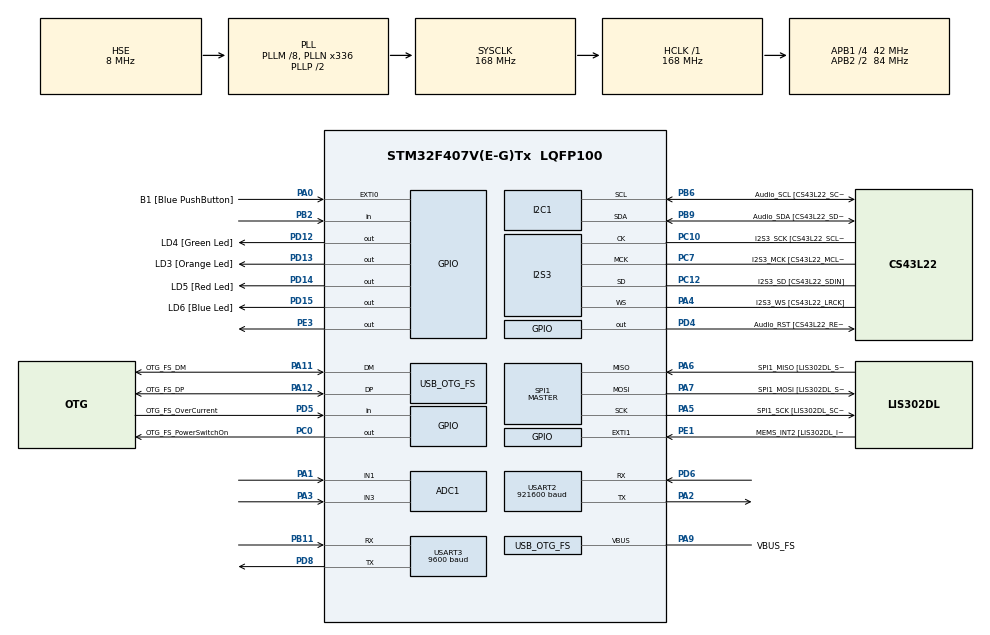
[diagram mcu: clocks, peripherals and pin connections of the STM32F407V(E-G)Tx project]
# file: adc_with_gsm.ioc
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ADC1.Channel-0\#ChannelRegularConversion=ADC_CHANNEL_1
ADC1.Channel-1\#ChannelRegularConversion=ADC_CHANNEL_3
ADC1.ContinuousConvMode=ENABLE
ADC1.DMAContinuousRequests=ENABLE
ADC1.EOCSelection=ADC_EOC_SINGLE_CONV
ADC1.InjNumberOfConversion=0
ADC1.NbrOfConversion=2
ADC1.NbrOfConversionFlag=1
ADC1.Rank-0\#ChannelRegularConversion=1
ADC1.Rank-1\#ChannelRegularConversion=2
ADC1.SamplingTime-0\#ChannelRegularConversion=ADC_SAMPLETIME_15CYCLES
ADC1.SamplingTime-1\#ChannelRegularConversion=ADC_SAMPLETIME_15CYCLES
ADC1.ScanConvMode=ENABLE
ADC1.master=1
Dma.ADC1.0.Direction=DMA_PERIPH_TO_MEMORY
Dma.ADC1.0.FIFOMode=DMA_FIFOMODE_DISABLE
Dma.ADC1.0.Instance=DMA2_Stream0
Dma.ADC1.0.MemDataAlignment=DMA_MDATAALIGN_HALFWORD
Dma.ADC1.0.MemInc=DMA_MINC_ENABLE
Dma.ADC1.0.Mode=DMA_CIRCULAR
Dma.ADC1.0.PeriphDataAlignment=DMA_PDATAALIGN_HALFWORD
Dma.ADC1.0.PeriphInc=DMA_PINC_DISABLE
Dma.ADC1.0.Priority=DMA_PRIORITY_MEDIUM
Dma.Request0=ADC1
I2S3.AudioFreq-Half_Duplex_Master=I2S_AUDIOFREQ_96K
I2S3.ErrorAudioFreq=-2.34 %
I2S3.ErrorAudioFreq-Half_Duplex_Master=0.8 %
I2S3.FullDuplexMode=I2S_FULLDUPLEXMODE_DISABLE
I2S3.Instance=SPI$Index
I2S3.RealAudioFreq=93.75 KHz
I2S3.RealAudioFreq-Half_Duplex_Master=96.774 KHz
I2S3.VirtualMode=I2S_MODE_MASTER
Mcu.Family=STM32F4
Mcu.Name=STM32F407V(E-G)Tx
Mcu.Package=LQFP100
NVIC.DMA2_Stream0_IRQn=true\:0\:0\:false\:false\:true\:false\:true\:true
NVIC.OTG_FS_IRQn=true\:0\:0\:false\:false\:true\:true\:true\:true
NVIC.PriorityGroup=NVIC_PRIORITYGROUP_0
NVIC.USART2_IRQn=true\:0\:1\:true\:false\:true\:true\:true\:true
NVIC.USART3_IRQn=true\:0\:2\:false\:false\:true\:true\:true\:true
PA0-WKUP.GPIO_Label=B1 [Blue PushButton]
PA0-WKUP.GPIO_ModeDefaultEXTI=GPIO_MODE_EVT_RISING
PA0-WKUP.GPIO_PuPd=GPIO_NOPULL
PA0-WKUP.Signal=GPXTI0
PA1.Signal=ADCx_IN1
PA10.GPIO_Label=OTG_FS_ID
PA10.GPIO_Mode=GPIO_MODE_AF_PP
PA10.GPIO_PuPd=GPIO_NOPULL
PA10.GPIO_Speed=GPIO_SPEED_FREQ_LOW
PA10.Signal=USB_OTG_FS_ID
PA11.GPIO_Label=OTG_FS_DM
PA11.GPIO_Mode=GPIO_MODE_AF_PP
PA11.GPIO_PuPd=GPIO_NOPULL
PA11.GPIO_Speed=GPIO_SPEED_FREQ_LOW
PA11.Mode=Host_Only
PA11.Signal=USB_OTG_FS_DM
PA12.GPIO_Label=OTG_FS_DP
PA12.GPIO_Mode=GPIO_MODE_AF_PP
PA12.GPIO_PuPd=GPIO_NOPULL
PA12.GPIO_Speed=GPIO_SPEED_FREQ_LOW
PA12.Mode=Host_Only
PA12.Signal=USB_OTG_FS_DP
PA13.GPIO_Label=SWDIO
PA13.Mode=Serial_Wire
PA13.Signal=SYS_JTMS-SWDIO
PA14.GPIO_Label=SWCLK
PA14.Mode=Serial_Wire
PA14.Signal=SYS_JTCK-SWCLK
PA2.Mode=Asynchronous
PA2.Signal=USART2_TX
PA3.Signal=ADCx_IN3
PA4.GPIO_Label=I2S3_WS [CS43L22_LRCK]
PA4.GPIO_Mode=GPIO_MODE_AF_PP
PA4.GPIO_PuPd=GPIO_NOPULL
PA4.GPIO_Speed=GPIO_SPEED_FREQ_LOW
PA4.Mode=Half_Duplex_Master
PA4.Signal=I2S3_WS
PA5.GPIO_Label=SPI1_SCK [LIS302DL_SCL/SPC]
PA5.GPIO_Mode=GPIO_MODE_AF_PP
PA5.GPIO_PuPd=GPIO_NOPULL
PA5.GPIO_Speed=GPIO_SPEED_FREQ_LOW
PA5.Mode=Full_Duplex_Master
PA5.Signal=SPI1_SCK
PA6.GPIO_Label=SPI1_MISO [LIS302DL_SDO]
PA6.GPIO_Mode=GPIO_MODE_AF_PP
PA6.GPIO_PuPd=GPIO_NOPULL
PA6.GPIO_Speed=GPIO_SPEED_FREQ_LOW
PA6.Mode=Full_Duplex_Master
PA6.Signal=SPI1_MISO
PA7.GPIO_Label=SPI1_MOSI [LIS302DL_SDA/SDI/SDO]
PA7.GPIO_Mode=GPIO_MODE_AF_PP
PA7.GPIO_PuPd=GPIO_NOPULL
PA7.GPIO_Speed=GPIO_SPEED_FREQ_LOW
PA7.Mode=Full_Duplex_Master
PA7.Signal=SPI1_MOSI
PA9.GPIO_Label=VBUS_FS
PA9.GPIO_Mode=GPIO_MODE_INPUT
PA9.GPIO_PuPd=GPIO_NOPULL
PA9.Mode=Activate_VBUS
PA9.Signal=USB_OTG_FS_VBUS
PB10.GPIO_Label=CLK_IN [MP45DT02_CLK]
PB10.GPIO_Mode=GPIO_MODE_AF_PP
PB10.GPIO_PuPd=GPIO_NOPULL
PB10.GPIO_Speed=GPIO_SPEED_FREQ_LOW
PB10.Signal=I2S2_CK
PB11.Mode=Asynchronous
PB11.Signal=USART3_RX
PB2.Signal=GPIO_Input
PB3.GPIO_Label=SWO
PB3.Signal=SYS_JTDO-SWO
PB6.GPIO_Label=Audio_SCL [CS43L22_SCL]
PB6.GPIO_Mode=GPIO_MODE_AF_OD
PB6.GPIO_Pu=GPIO_PULLUP
PB6.GPIO_PuPd=GPIO_NOPULL
PB6.GPIO_Speed=GPIO_SPEED_FREQ_LOW
PB6.Mode=I2C
PB6.Signal=I2C1_SCL
PB9.GPIO_Label=Audio_SDA [CS43L22_SDA]
PB9.GPIO_Mode=GPIO_MODE_AF_OD
PB9.GPIO_Pu=GPIO_PULLUP
PB9.GPIO_PuPd=GPIO_NOPULL
PB9.GPIO_Speed=GPIO_SPEED_FREQ_LOW
PB9.Mode=I2C
PB9.Signal=I2C1_SDA
PC0.GPIO_Label=OTG_FS_PowerSwitchOn
PC0.GPIO_PuPd=GPIO_NOPULL
PC0.GPIO_Speed=GPIO_SPEED_FREQ_LOW
PC0.PinState=GPIO_PIN_SET
PC0.Signal=GPIO_Output
PC10.GPIO_Label=I2S3_SCK [CS43L22_SCLK]
PC10.GPIO_Mode=GPIO_MODE_AF_PP
PC10.GPIO_PuPd=GPIO_NOPULL
PC10.GPIO_Speed=GPIO_SPEED_FREQ_LOW
PC10.Mode=Half_Duplex_Master
PC10.Signal=I2S3_CK
PC12.GPIO_Label=I2S3_SD [CS43L22_SDIN]
PC12.GPIO_Mode=GPIO_MODE_AF_PP
PC12.GPIO_PuPd=GPIO_NOPULL
PC12.GPIO_Speed=GPIO_SPEED_FREQ_LOW
PC12.Mode=Half_Duplex_Master
PC12.Signal=I2S3_SD
PC14-OSC32_IN.GPIO_Label=PC14-OSC32_IN
PC14-OSC32_IN.Mode=LSE-External-Oscillator
PC14-OSC32_IN.Signal=RCC_OSC32_IN
PC15-OSC32_OUT.GPIO_Label=PC15-OSC32_OUT
PC15-OSC32_OUT.Mode=LSE-External-Oscillator
PC15-OSC32_OUT.Signal=RCC_OSC32_OUT
PC3.GPIO_Label=PDM_OUT [MP45DT02_DOUT]
PC3.GPIO_Mode=GPIO_MODE_AF_PP
PC3.GPIO_PuPd=GPIO_NOPULL
PC3.GPIO_Speed=GPIO_SPEED_FREQ_LOW
PC3.Signal=I2S2_SD
PC7.GPIO_Label=I2S3_MCK [CS43L22_MCLK]
PC7.GPIO_Mode=GPIO_MODE_AF_PP
PC7.GPIO_PuPd=GPIO_NOPULL
PC7.GPIO_Speed=GPIO_SPEED_FREQ_LOW
PC7.Mode=Master_Clock_Activated
PC7.Signal=I2S3_MCK
PD12.GPIO_Label=LD4 [Green Led]
PD12.GPIO_PuPd=GPIO_NOPULL
PD12.GPIO_Speed=GPIO_SPEED_FREQ_LOW
PD12.Signal=GPIO_Output
PD13.GPIO_Label=LD3 [Orange Led]
PD13.GPIO_PuPd=GPIO_NOPULL
PD13.GPIO_Speed=GPIO_SPEED_FREQ_LOW
PD13.Signal=GPIO_Output
PD14.GPIO_Label=LD5 [Red Led]
PD14.GPIO_PuPd=GPIO_NOPULL
PD14.GPIO_Speed=GPIO_SPEED_FREQ_LOW
PD14.Signal=GPIO_Output
PD15.GPIO_Label=LD6 [Blue Led]
PD15.GPIO_PuPd=GPIO_NOPULL
PD15.GPIO_Speed=GPIO_SPEED_FREQ_LOW
PD15.Signal=GPIO_Output
PD4.GPIO_Label=Audio_RST [CS43L22_RESET]
PD4.GPIO_PuPd=GPIO_NOPULL
PD4.GPIO_Speed=GPIO_SPEED_FREQ_LOW
PD4.Signal=GPIO_Output
PD5.GPIO_Label=OTG_FS_OverCurrent
PD5.GPIO_Mode=GPIO_MODE_INPUT
PD5.GPIO_PuPd=GPIO_NOPULL
PD5.Signal=GPIO_Input
PD6.Mode=Asynchronous
PD6.Signal=USART2_RX
PD8.Mode=Asynchronous
PD8.Signal=USART3_TX
PE1.GPIO_Label=MEMS_INT2 [LIS302DL_INT2]
PE1.GPIO_ModeDefaultEXTI=GPIO_MODE_EVT_RISING
PE1.GPIO_PuPd=GPIO_NOPULL
PE1.Signal=GPXTI1
PE3.Signal=GPIO_Output
PH0-OSC_IN.GPIO_Label=PH0-OSC_IN
PH0-OSC_IN.Mode=HSE-External-Oscillator
PH0-OSC_IN.Signal=RCC_OSC_IN
PH1-OSC_OUT.GPIO_Label=PH1-OSC_OUT
PH1-OSC_OUT.Mode=HSE-External-Oscillator
PH1-OSC_OUT.Signal=RCC_OSC_OUT
ProjectManager.HeapSize=0x200
ProjectManager.StackSize=0x400
ProjectManager.TargetToolchain=STM32CubeIDE
RCC.48MHZClocksFreq_Value=48000000
RCC.AHBFreq_Value=168000000
RCC.APB1CLKDivider=RCC_HCLK_DIV4
RCC.APB1Freq_Value=42000000
RCC.APB1TimFreq_Value=84000000
RCC.APB2CLKDivider=RCC_HCLK_DIV2
RCC.APB2Freq_Value=84000000
RCC.APB2TimFreq_Value=168000000
RCC.CortexFreq_Value=168000000
RCC.HCLKFreq_Value=168000000
RCC.HSE_VALUE=8000000
RCC.HSI_VALUE=16000000
RCC.PLLM=8
RCC.PLLN=336
RCC.PLLQ=7
RCC.SYSCLKFreq_VALUE=168000000
RCC.SYSCLKSource=RCC_SYSCLKSOURCE_PLLCLK
RCC.VCOOutputFreq_Value=336000000
SH.ADCx_IN1.0=ADC1_IN1,IN1
SH.ADCx_IN3.0=ADC1_IN3,IN3
SPI1.BaudRatePrescaler-Full_Duplex_Master=SPI_BAUDRATEPRESCALER_2
SPI1.CalculateBaudRate-Full_Duplex_Master=42.0 MBits/s
SPI1.Direction=SPI_DIRECTION_2LINES
SPI1.Mode=SPI_MODE_MASTER
SPI1.Mode-Full_Duplex_Master=SPI_MODE_MASTER
SPI1.VirtualType=VM_MASTER
USART2.BaudRate=921600
USART2.VirtualMode=VM_ASYNC
USART3.BaudRate=9600
USART3.VirtualMode=VM_ASYNC
USB_HOST.BSP.number=1
USB_HOST.USBH_HandleTypeDef-CDC_FS=hUsbHostFS
USB_HOST.VirtualModeFS=Cdc
USB_HOST0.BSP.STBoard=false
USB_HOST0.BSP.api=Unknown
USB_HOST0.BSP.instance=PC0
USB_HOST0.BSP.ip=GPIO
USB_HOST0.BSP.mode=Output
USB_HOST0.BSP.name=Drive_VBUS_FS
USB_HOST0.BSP.solution=PC0
USB_OTG_FS.VirtualMode=Host_Only
USB_OTG_FS.phy_itface=HCD_PHY_EMBEDDED
VP_USB_HOST_VS_USB_HOST_CDC_FS.Mode=CDC_FS
board=STM32F407G-DISC1

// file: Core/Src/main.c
/* USER CODE BEGIN Header */
/**
  ******************************************************************************
  * @file           : main.c
  * @brief          : Main program body
  ******************************************************************************
  * @attention
  *
  * Copyright (c) 2025 STMicroelectronics.
  * All rights reserved.
  *
  * This software is licensed under terms that can be found in the LICENSE file
  * in the root directory of this software component.
  * If no LICENSE file comes with this software, it is provided AS-IS.
  *
  ******************************************************************************
  */
/* USER CODE END Header */
#include "main.h"
#include "usb_host.h"

/* USER CODE BEGIN PTD */
#define BUFFER_SIZE 512

typedef struct
{
	uint8_t buffer[BUFFER_SIZE];
	volatile uint16_t head;
	volatile uint16_t tail;
} RingBuffer;
/* USER CODE END PTD */

ADC_HandleTypeDef hadc1;
DMA_HandleTypeDef hdma_adc1;

I2C_HandleTypeDef hi2c1;

I2S_HandleTypeDef hi2s3;

SPI_HandleTypeDef hspi1;

UART_HandleTypeDef huart2;
UART_HandleTypeDef huart3;

/* USER CODE BEGIN PV */
RingBuffer uart_rx_buffer;
char commandBuffer[200];
char apn[30] = "airtelgprs.com";
uint8_t tmpBuffer[1];

/* USER CODE END PV */

void SystemClock_Config(void);
static void MX_GPIO_Init(void);
static void MX_DMA_Init(void);
static void MX_I2C1_Init(void);
static void MX_I2S3_Init(void);
static void MX_SPI1_Init(void);
static void MX_USART2_UART_Init(void);
static void MX_ADC1_Init(void);
static void MX_USART3_UART_Init(void);
void MX_USB_HOST_Process(void);

/* USER CODE BEGIN PFP */
void send_AT_command(char*);
/* USER CODE END PFP */

/* USER CODE BEGIN 0 */
void GSM_Init(void)
{
	send_AT_command("AT");
	send_AT_command("AT+CPIN?");
	send_AT_command("AT+CSQ");
	send_AT_command("AT+CMEE=1");
//	send_AT_command("AT+COPS=?");
	send_AT_command("AT+COPS=1,2,\"40490\"");
	send_AT_command("AT+CREG?");
	send_AT_command("AT+CGATT=1");

	snprintf(commandBuffer, sizeof(commandBuffer), "AT+SAPBR=3,1,\"APN\",\"%s\"", apn);
	send_AT_command(commandBuffer);

	send_AT_command("AT+SAPBR=1,1");
	send_AT_command("AT+SAPBR=2,1");
}

void Testing_MQTT(void)
{
	send_AT_command("AT+CFUN=1");
	send_AT_command("AT+CPIN?");
	send_AT_command("AT+CREG?");
	send_AT_command("AT+CGATT=1");
}

// Function to send AT command via UART1
void send_AT_command(char *command)
{
    HAL_UART_Transmit(&huart3, (uint8_t *)command, strlen(command), 5000);  // Send the command over UART1
    HAL_Delay(500);
    HAL_UART_Transmit(&huart3, (uint8_t *)"\r\n", 2, 5000);  // Send carriage return and line feed (CRLF)
//    // Send the command to UART2 (to Arduino, so you can monitor it)
//	HAL_UART_Transmit(&huart2, (uint8_t *)"Sent to GSM: ", 13, 1000);  // Prefix to indicate sending
//	HAL_UART_Transmit(&huart2, (uint8_t *)command, strlen(command), 2000);  // Echo the AT command
//	HAL_UART_Transmit(&huart2, (uint8_t *)"\r\n", 2, 1000);  // Send CRLF after the command to Arduino

	HAL_Delay(2000);
	if (strstr(command, "HTTPACTION=1") != NULL)  // strstr() checks for the substring
		HAL_Delay(9000);  // Delay for 10,000 ms (10 seconds)

	if (strstr(command, "COPS=") != NULL)  // strstr() checks for the substring
			HAL_Delay(10000);  // Delay for 10,000 ms (10 seconds)

	 process_uart_data();
	 HAL_Delay(200);
}

void ring_buffer_put(RingBuffer *rb, uint8_t data)
{
    uint16_t next = (rb->head + 1) % BUFFER_SIZE;

    if (next != rb->tail)  // If the buffer is not full, add data
    {
        rb->buffer[rb->head] = data;
        rb->head = next;
    }
}

// Get a byte from the ring buffer
uint8_t ring_buffer_get(RingBuffer *rb)
{
    if (rb->head == rb->tail)  // If buffer is empty, return 0
        return 0;

    uint8_t data = rb->buffer[rb->tail];
    rb->tail = (rb->tail + 1) % BUFFER_SIZE;
    return data;
}

// Check if the buffer is empty
uint8_t ring_buffer_is_empty(RingBuffer *rb)
{
    return rb->head == rb->tail;
}

void HAL_UART_RxCpltCallback(UART_HandleTypeDef *huart)
{
    if (huart == &huart3)  // If the interrupt is from UART1
    {
        ring_buffer_put(&uart_rx_buffer, tmpBuffer[0]);  // Store the byte in the ring buffer
        HAL_UART_Receive_IT(&huart3, tmpBuffer, 1);  // Enable interrupt for next byte
    }
}

void process_uart_data(void)
{
    static char rx_line[300];  // Buffer to store a line of response
    static uint16_t line_index = 0;

    // Check if there is data in the ring buffer
    while (!ring_buffer_is_empty(&uart_rx_buffer))
    {
        uint8_t byte = ring_buffer_get(&uart_rx_buffer);

        if (byte == '\n' || byte == '\r')  // End of line
        {
            rx_line[line_index] = '\0';  // Null-terminate the line
            line_index = 0;
        }
        else
        {
            if (line_index < sizeof(rx_line) - 1)
                rx_line[line_index++] = byte;  // Accumulate characters
        }
    }
}

/* USER CODE END 0 */

int main(void)
{

  /* MCU Configuration--------------------------------------------------------*/

  /* Reset of all peripherals, Initializes the Flash interface and the Systick. */
  HAL_Init();

  /* Configure the system clock */
  SystemClock_Config();

  /* Initialize all configured peripherals */
  MX_GPIO_Init();
  MX_DMA_Init();
  MX_I2C1_Init();
  MX_I2S3_Init();
  MX_SPI1_Init();
  MX_USB_HOST_Init();
  MX_USART2_UART_Init();
  MX_ADC1_Init();
  MX_USART3_UART_Init();
  /* USER CODE BEGIN 2 */
  HAL_UART_Receive_IT(&huart3, tmpBuffer, 1);  // Start UART reception in interrupt mode

  GSM_Init();
  /* USER CODE END 2 */

  /* Infinite loop */
  while (1)
  {
    MX_USB_HOST_Process();

  }
}

void SystemClock_Config(void)
{
  RCC_OscInitTypeDef RCC_OscInitStruct = {0};
  RCC_ClkInitTypeDef RCC_ClkInitStruct = {0};

  /** Configure the main internal regulator output voltage
  */
  __HAL_RCC_PWR_CLK_ENABLE();
  __HAL_PWR_VOLTAGESCALING_CONFIG(PWR_REGULATOR_VOLTAGE_SCALE1);

  /** Initializes the RCC Oscillators according to the specified parameters
  * in the RCC_OscInitTypeDef structure.
  */
  RCC_OscInitStruct.OscillatorType = RCC_OSCILLATORTYPE_HSE;
  RCC_OscInitStruct.HSEState = RCC_HSE_ON;
  RCC_OscInitStruct.PLL.PLLState = RCC_PLL_ON;
  RCC_OscInitStruct.PLL.PLLSource = RCC_PLLSOURCE_HSE;
  RCC_OscInitStruct.PLL.PLLM = 8;
  RCC_OscInitStruct.PLL.PLLN = 336;
  RCC_OscInitStruct.PLL.PLLP = RCC_PLLP_DIV2;
  RCC_OscInitStruct.PLL.PLLQ = 7;
  if (HAL_RCC_OscConfig(&RCC_OscInitStruct) != HAL_OK)
  {
    Error_Handler();
  }

  /** Initializes the CPU, AHB and APB buses clocks
  */
  RCC_ClkInitStruct.ClockType = RCC_CLOCKTYPE_HCLK|RCC_CLOCKTYPE_SYSCLK
                              |RCC_CLOCKTYPE_PCLK1|RCC_CLOCKTYPE_PCLK2;
  RCC_ClkInitStruct.SYSCLKSource = RCC_SYSCLKSOURCE_PLLCLK;
  RCC_ClkInitStruct.AHBCLKDivider = RCC_SYSCLK_DIV1;
  RCC_ClkInitStruct.APB1CLKDivider = RCC_HCLK_DIV4;
  RCC_ClkInitStruct.APB2CLKDivider = RCC_HCLK_DIV2;

  if (HAL_RCC_ClockConfig(&RCC_ClkInitStruct, FLASH_LATENCY_5) != HAL_OK)
  {
    Error_Handler();
  }
}

static void MX_ADC1_Init(void)
{

  ADC_ChannelConfTypeDef sConfig = {0};

  /** Configure the global features of the ADC (Clock, Resolution, Data Alignment and number of conversion)
  */
  hadc1.Instance = ADC1;
  hadc1.Init.ClockPrescaler = ADC_CLOCK_SYNC_PCLK_DIV4;
  hadc1.Init.Resolution = ADC_RESOLUTION_12B;
  hadc1.Init.ScanConvMode = ENABLE;
  hadc1.Init.ContinuousConvMode = ENABLE;
  hadc1.Init.DiscontinuousConvMode = DISABLE;
  hadc1.Init.ExternalTrigConvEdge = ADC_EXTERNALTRIGCONVEDGE_NONE;
  hadc1.Init.ExternalTrigConv = ADC_SOFTWARE_START;
  hadc1.Init.DataAlign = ADC_DATAALIGN_RIGHT;
  hadc1.Init.NbrOfConversion = 2;
  hadc1.Init.DMAContinuousRequests = ENABLE;
  hadc1.Init.EOCSelection = ADC_EOC_SINGLE_CONV;
  if (HAL_ADC_Init(&hadc1) != HAL_OK)
  {
    Error_Handler();
  }

  /** Configure for the selected ADC regular channel its corresponding rank in the sequencer and its sample time.
  */
  sConfig.Channel = ADC_CHANNEL_1;
  sConfig.Rank = 1;
  sConfig.SamplingTime = ADC_SAMPLETIME_15CYCLES;
  if (HAL_ADC_ConfigChannel(&hadc1, &sConfig) != HAL_OK)
  {
    Error_Handler();
  }

  /** Configure for the selected ADC regular channel its corresponding rank in the sequencer and its sample time.
  */
  sConfig.Channel = ADC_CHANNEL_3;
  sConfig.Rank = 2;
  if (HAL_ADC_ConfigChannel(&hadc1, &sConfig) != HAL_OK)
  {
    Error_Handler();
  }

}

static void MX_I2C1_Init(void)
{

  hi2c1.Instance = I2C1;
  hi2c1.Init.ClockSpeed = 100000;
  hi2c1.Init.DutyCycle = I2C_DUTYCYCLE_2;
  hi2c1.Init.OwnAddress1 = 0;
  hi2c1.Init.AddressingMode = I2C_ADDRESSINGMODE_7BIT;
  hi2c1.Init.DualAddressMode = I2C_DUALADDRESS_DISABLE;
  hi2c1.Init.OwnAddress2 = 0;
  hi2c1.Init.GeneralCallMode = I2C_GENERALCALL_DISABLE;
  hi2c1.Init.NoStretchMode = I2C_NOSTRETCH_DISABLE;
  if (HAL_I2C_Init(&hi2c1) != HAL_OK)
  {
    Error_Handler();
  }

}

static void MX_I2S3_Init(void)
{

  hi2s3.Instance = SPI3;
  hi2s3.Init.Mode = I2S_MODE_MASTER_TX;
  hi2s3.Init.Standard = I2S_STANDARD_PHILIPS;
  hi2s3.Init.DataFormat = I2S_DATAFORMAT_16B;
  hi2s3.Init.MCLKOutput = I2S_MCLKOUTPUT_ENABLE;
  hi2s3.Init.AudioFreq = I2S_AUDIOFREQ_96K;
  hi2s3.Init.CPOL = I2S_CPOL_LOW;
  hi2s3.Init.ClockSource = I2S_CLOCK_PLL;
  hi2s3.Init.FullDuplexMode = I2S_FULLDUPLEXMODE_DISABLE;
  if (HAL_I2S_Init(&hi2s3) != HAL_OK)
  {
    Error_Handler();
  }

}

static void MX_SPI1_Init(void)
{

  /* SPI1 parameter configuration*/
  hspi1.Instance = SPI1;
  hspi1.Init.Mode = SPI_MODE_MASTER;
  hspi1.Init.Direction = SPI_DIRECTION_2LINES;
  hspi1.Init.DataSize = SPI_DATASIZE_8BIT;
  hspi1.Init.CLKPolarity = SPI_POLARITY_LOW;
  hspi1.Init.CLKPhase = SPI_PHASE_1EDGE;
  hspi1.Init.NSS = SPI_NSS_SOFT;
  hspi1.Init.BaudRatePrescaler = SPI_BAUDRATEPRESCALER_2;
  hspi1.Init.FirstBit = SPI_FIRSTBIT_MSB;
  hspi1.Init.TIMode = SPI_TIMODE_DISABLE;
  hspi1.Init.CRCCalculation = SPI_CRCCALCULATION_DISABLE;
  hspi1.Init.CRCPolynomial = 10;
  if (HAL_SPI_Init(&hspi1) != HAL_OK)
  {
    Error_Handler();
  }

}

static void MX_USART2_UART_Init(void)
{

  huart2.Instance = USART2;
  huart2.Init.BaudRate = 921600;
  huart2.Init.WordLength = UART_WORDLENGTH_8B;
  huart2.Init.StopBits = UART_STOPBITS_1;
  huart2.Init.Parity = UART_PARITY_NONE;
  huart2.Init.Mode = UART_MODE_TX_RX;
  huart2.Init.HwFlowCtl = UART_HWCONTROL_NONE;
  huart2.Init.OverSampling = UART_OVERSAMPLING_16;
  if (HAL_UART_Init(&huart2) != HAL_OK)
  {
    Error_Handler();
  }

}

static void MX_USART3_UART_Init(void)
{

  huart3.Instance = USART3;
  huart3.Init.BaudRate = 9600;
  huart3.Init.WordLength = UART_WORDLENGTH_8B;
  huart3.Init.StopBits = UART_STOPBITS_1;
  huart3.Init.Parity = UART_PARITY_NONE;
  huart3.Init.Mode = UART_MODE_TX_RX;
  huart3.Init.HwFlowCtl = UART_HWCONTROL_NONE;
  huart3.Init.OverSampling = UART_OVERSAMPLING_16;
  if (HAL_UART_Init(&huart3) != HAL_OK)
  {
    Error_Handler();
  }

}

static void MX_DMA_Init(void)
{

  /* DMA controller clock enable */
  __HAL_RCC_DMA2_CLK_ENABLE();

  /* DMA interrupt init */
  /* DMA2_Stream0_IRQn interrupt configuration */
  HAL_NVIC_SetPriority(DMA2_Stream0_IRQn, 0, 0);
  HAL_NVIC_EnableIRQ(DMA2_Stream0_IRQn);

}

static void MX_GPIO_Init(void)
{
  GPIO_InitTypeDef GPIO_InitStruct = {0};

  /* GPIO Ports Clock Enable */
  __HAL_RCC_GPIOE_CLK_ENABLE();
  __HAL_RCC_GPIOC_CLK_ENABLE();
  __HAL_RCC_GPIOH_CLK_ENABLE();
  __HAL_RCC_GPIOA_CLK_ENABLE();
  __HAL_RCC_GPIOB_CLK_ENABLE();
  __HAL_RCC_GPIOD_CLK_ENABLE();

  /*Configure GPIO pin Output Level */
  HAL_GPIO_WritePin(GPIOE, GPIO_PIN_3, GPIO_PIN_RESET);

  /*Configure GPIO pin Output Level */
  HAL_GPIO_WritePin(OTG_FS_PowerSwitchOn_GPIO_Port, OTG_FS_PowerSwitchOn_Pin, GPIO_PIN_SET);

  /*Configure GPIO pin Output Level */
  HAL_GPIO_WritePin(GPIOD, LD4_Pin|LD3_Pin|LD5_Pin|LD6_Pin
                          |Audio_RST_Pin, GPIO_PIN_RESET);

  /*Configure GPIO pin : PE3 */
  GPIO_InitStruct.Pin = GPIO_PIN_3;
  GPIO_InitStruct.Mode = GPIO_MODE_OUTPUT_PP;
  GPIO_InitStruct.Pull = GPIO_NOPULL;
  GPIO_InitStruct.Speed = GPIO_SPEED_FREQ_LOW;
  HAL_GPIO_Init(GPIOE, &GPIO_InitStruct);

  /*Configure GPIO pin : OTG_FS_PowerSwitchOn_Pin */
  GPIO_InitStruct.Pin = OTG_FS_PowerSwitchOn_Pin;
  GPIO_InitStruct.Mode = GPIO_MODE_OUTPUT_PP;
  GPIO_InitStruct.Pull = GPIO_NOPULL;
  GPIO_InitStruct.Speed = GPIO_SPEED_FREQ_LOW;
  HAL_GPIO_Init(OTG_FS_PowerSwitchOn_GPIO_Port, &GPIO_InitStruct);

  /*Configure GPIO pin : PDM_OUT_Pin */
  GPIO_InitStruct.Pin = PDM_OUT_Pin;
  GPIO_InitStruct.Mode = GPIO_MODE_AF_PP;
  GPIO_InitStruct.Pull = GPIO_NOPULL;
  GPIO_InitStruct.Speed = GPIO_SPEED_FREQ_LOW;
  GPIO_InitStruct.Alternate = GPIO_AF5_SPI2;
  HAL_GPIO_Init(PDM_OUT_GPIO_Port, &GPIO_InitStruct);

  /*Configure GPIO pin : B1_Pin */
  GPIO_InitStruct.Pin = B1_Pin;
  GPIO_InitStruct.Mode = GPIO_MODE_EVT_RISING;
  GPIO_InitStruct.Pull = GPIO_NOPULL;
  HAL_GPIO_Init(B1_GPIO_Port, &GPIO_InitStruct);

  /*Configure GPIO pin : PB2 */
  GPIO_InitStruct.Pin = GPIO_PIN_2;
  GPIO_InitStruct.Mode = GPIO_MODE_INPUT;
  GPIO_InitStruct.Pull = GPIO_NOPULL;
  HAL_GPIO_Init(GPIOB, &GPIO_InitStruct);

  /*Configure GPIO pin : CLK_IN_Pin */
  GPIO_InitStruct.Pin = CLK_IN_Pin;
  GPIO_InitStruct.Mode = GPIO_MODE_AF_PP;
  GPIO_InitStruct.Pull = GPIO_NOPULL;
  GPIO_InitStruct.Speed = GPIO_SPEED_FREQ_LOW;
  GPIO_InitStruct.Alternate = GPIO_AF5_SPI2;
  HAL_GPIO_Init(CLK_IN_GPIO_Port, &GPIO_InitStruct);

  /*Configure GPIO pins : LD4_Pin LD3_Pin LD5_Pin LD6_Pin
                           Audio_RST_Pin */
  GPIO_InitStruct.Pin = LD4_Pin|LD3_Pin|LD5_Pin|LD6_Pin
                          |Audio_RST_Pin;
  GPIO_InitStruct.Mode = GPIO_MODE_OUTPUT_PP;
  GPIO_InitStruct.Pull = GPIO_NOPULL;
  GPIO_InitStruct.Speed = GPIO_SPEED_FREQ_LOW;
  HAL_GPIO_Init(GPIOD, &GPIO_InitStruct);

  /*Configure GPIO pin : OTG_FS_OverCurrent_Pin */
  GPIO_InitStruct.Pin = OTG_FS_OverCurrent_Pin;
  GPIO_InitStruct.Mode = GPIO_MODE_INPUT;
  GPIO_InitStruct.Pull = GPIO_NOPULL;
  HAL_GPIO_Init(OTG_FS_OverCurrent_GPIO_Port, &GPIO_InitStruct);

  /*Configure GPIO pin : MEMS_INT2_Pin */
  GPIO_InitStruct.Pin = MEMS_INT2_Pin;
  GPIO_InitStruct.Mode = GPIO_MODE_EVT_RISING;
  GPIO_InitStruct.Pull = GPIO_NOPULL;
  HAL_GPIO_Init(MEMS_INT2_GPIO_Port, &GPIO_InitStruct);

}

void Error_Handler(void)
{
  __disable_irq();
  while (1)
  {
  }
}
